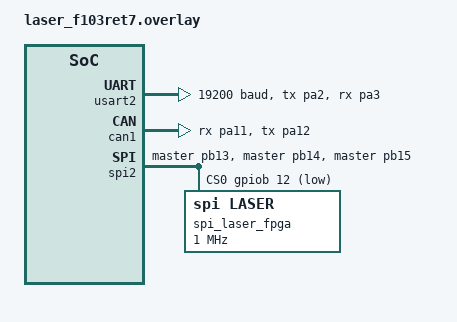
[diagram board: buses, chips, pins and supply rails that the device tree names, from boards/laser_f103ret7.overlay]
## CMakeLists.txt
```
# SPDX-License-Identifier: Apache-2.0

cmake_minimum_required(VERSION 3.20.0)

find_package(Zephyr REQUIRED HINTS $ENV{ZEPHYR_BASE})
project(laser_ctrl)

target_include_directories(app PRIVATE include)
target_sources(app PRIVATE
  src/main.c
  src/laser_serial.c
  src/flash.c
  src/can.c
  src/firmware.c
)

dt_nodelabel(dts_partition_path NODELABEL "spi_laser_fpga")
if (DEFINED dts_partition_path)
  target_sources(app PRIVATE src/fpga_spi.c)
endif()
```

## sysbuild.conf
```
SB_CONFIG_BOOTLOADER_MCUBOOT=y
SB_CONFIG_MCUBOOT_MODE_SWAP_SCRATCH=y
SB_CONFIG_BOOT_SIGNATURE_KEY_FILE="${APP_DIR}/boards/${BOARD}.pem"
```

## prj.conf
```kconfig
CONFIG_EVENTS=y

# shell
CONFIG_SHELL=y
CONFIG_FLASH_MAP_SHELL=y
CONFIG_FLASH_SHELL=y

# log
CONFIG_LOG=y

# can
CONFIG_CAN=y
CONFIG_CAN_SHELL=y

# img
CONFIG_IMG_MANAGER=y
CONFIG_STREAM_FLASH=y

# reboot
CONFIG_REBOOT=y
```

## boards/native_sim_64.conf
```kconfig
CONFIG_FLASH=y
CONFIG_FLASH_MAP=y
CONFIG_STREAM_FLASH=y
CONFIG_NVS=y
CONFIG_SETTINGS=y
CONFIG_SETTINGS_NVS=y
CONFIG_MAIN_STACK_SIZE=2048
```

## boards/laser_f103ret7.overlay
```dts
/{
	chosen {
		zephyr,canbus = &can1;
	};
	aliases {
		laser-serial = &usart2;
	};
};

&usart2 {
	pinctrl-0 = <&usart2_tx_pa2 &usart2_rx_pa3>;
	pinctrl-names = "default";
	current-speed = <19200>;
	status = "okay";
};

&can1 {
	pinctrl-0 = <&can_rx_pa11 &can_tx_pa12>;
	pinctrl-names = "default";
	status = "okay";
};

&spi2 {
	pinctrl-0 = <&spi2_sck_master_pb13 &spi2_miso_master_pb14 &spi2_mosi_master_pb15>;
	pinctrl-names = "default";
	cs-gpios = <&gpiob 12 GPIO_ACTIVE_LOW>;
	status = "okay";
	spi_laser_fpga: spi_laser_fpga@0 {
		compatible = "spi,laser";
		spi-max-frequency = <DT_FREQ_M(1)>;
		reg = <0>;
	};
};
```

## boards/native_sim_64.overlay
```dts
/{
	chosen {
		zephyr,canbus = &can0;
		zephyr,settings-partition = &storage_partition;
	};
	aliases {
		laser-serial = &uart1;
	};
};

&uart1 {
	status = "okay";
};

&can0 {
	status = "okay";
	can-transceiver {
		min-bitrate = <15000>;
		max-bitrate = <1000000>;
	};
	host-interface = "vcan0";
};
```

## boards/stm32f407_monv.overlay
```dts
/{
	chosen {
		zephyr,canbus = &can1;
	};
	aliases {
		laser-serial = &usart3;
	};
};

&usart3 {
	pinctrl-0 = <&usart3_tx_pb10 &usart3_rx_pb11>;
	pinctrl-names = "default";
	current-speed = <19200>;
	status = "okay";
};

&can1 {
	pinctrl-0 = <&can1_rx_pb8 &can1_tx_pb9>;
	pinctrl-names = "default";
	status = "okay";
};
```

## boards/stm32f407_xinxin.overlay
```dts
/{
	chosen {
		zephyr,canbus = &can1;
	};
	aliases {
		laser-serial = &usart2;
	};
};

&usart2 {
	pinctrl-0 = <&usart2_tx_pa2 &usart2_rx_pa3>;
	pinctrl-names = "default";
	current-speed = <19200>;
	status = "okay";
};

&can1 {
	pinctrl-0 = <&can1_rx_pb8 &can1_tx_pb9>;
	pinctrl-names = "default";
	status = "okay";
};
```

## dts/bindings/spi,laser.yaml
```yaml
#
# Copyright (c) 2025 kabirz
#
# SPDX-License-Identifier: Apache-2.0
#

description: This is a representation of the spi laser.

compatible: "spi,laser"

include: [spi-device.yaml]
```

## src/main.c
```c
/*
 * Copyright (c) 2012-2014 Wind River Systems, Inc.
 *
 * SPDX-License-Identifier: Apache-2.0
 */

#include <zephyr/kernel.h>
#include <zephyr/app_version.h>
#ifndef CONFIG_FLASH_SIZE
#define CONFIG_FLASH_SIZE 0x1000
#endif

int main(void)
{
	printk("build time: %s-%s, board: %s, system clk: %dMHz, flash size: %dKB, version: %s\n",
	 __DATE__, __TIME__, CONFIG_BOARD_TARGET, CONFIG_SYS_CLOCK_HW_CYCLES_PER_SEC / 1000000,
	 CONFIG_FLASH_SIZE, APP_VERSION_STRING);

	return 0;
}
```

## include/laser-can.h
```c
#ifndef __LASER_CAN_H__
#define __LASER_CAN_H__
#include "laser-common.h"

enum {
	COB_ID1_RX = 0x664,
	COB_ID1_TX = 0x5E4,
	COB_ID2_RX = 0x665,
	COB_ID2_TX = 0x5E5,

	PLATFORM_RX   = 0x101,
	PLATFORM_TX   = 0x102,
	FW_DATA_RX    = 0x103,
};

#define CANRECSDOREADXAXISREALVAL  0x40466200
#define CANRECSDOREADYAXISREALVAL  0x40486200
#define CANRECSDOREADYAXIS         0x40026200
#define CANRECSDOWRITEYAXIS        0x22026200
#define CANRECSDOREADXAXIS         0x40016200
#define CANRECSDOWRITEXAXIS        0x22016200
#define CANRECSDOREADCONWORD       0x40406200
#define CANRECSDOWRITECONWORD      0x22406200
#define CANRECSDOWRITECONWORD_NEW  0x23406200
#define CANCMD_LASER_CTRL          0x22416200
#define CANCMD_LASER_CTRL_NEW      0x23416200
#define CANCMD_LASER_PEROID_CONF   0x22426200
#define CANCMD_LASER_PEROID_CONFN  0x23426200
#define CANCMD_LASER_PEROID_GET    0x40426200
#define CANWRITESYSTEMSTATUS       0x22000000
#define CANWRITESYSTEMSTATUS_NEW   0x23000000
#define CANREADSYSTEMSTATUS        0x40000000

#define CANCMD_LASER_CTRL_ENABLE   0x00000001
#define CANCMD_LASER_CTRL_DISABLE  0x00000000

#define CAN_HOST_MASK              0x00FFFFFF
#define CAN_HOST_ACK_ID            0x60000000
#define CAN_HOST_NOACK_ID          0x80000000

#define SYSTEMSTATUSINIT           0x00    // init status
#define SYSTEMSTATUSWORKING        0x01    // working status
#define SYSTEMSTATUSWORKREADERR    0x02    // init eeprom error
#define SYSTEMSTATUSINITERR        0x03    // init parameters error
#define SYSTEMSTATUSEEPROM         0x10    // eeprom writing status
#define SYSTEMSTATUSWRIERR         0x12    // writing eeprom error
#define SYSTEMSTATUSREADERR        0x11    // reading eeprom error

int cob_msg_send(uint32_t data1, uint32_t data2, uint32_t id);
int laser_can_send(struct can_frame *frame);

#include <zephyr/dfu/flash_img.h>
#include <zephyr/dfu/mcuboot.h>
#include <zephyr/storage/flash_map.h>

struct image_fw_msg {
	uint32_t total_size;
	uint32_t offset;
	struct flash_img_context flash_img_ctx;
};
int fw_update(struct can_frame *frame);

#endif
```

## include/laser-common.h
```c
#ifndef __LASER_COMMON_H__
#define __LASER_COMMON_H__
#include <zephyr/kernel.h>
#include <zephyr/drivers/can.h>

enum fw_error_code {
	FW_CODE_OFFSET,
	FW_CODE_UPDATE_SUCCESS,
	FW_CODE_VERSION,
	FW_CODE_CONFIRM,
	FW_CODE_FLASH_ERROR,
	FW_CODE_TRANFER_ERROR,
	FW_CODE_FPGA_VERSION,
};

enum board_option {
	BOARD_START_UPDATE,
	BOARD_CONFIRM,
	BOARD_VERSION,
	BOARD_REBOOT,
	FPGA_VERSION,
};

enum {
	LASER_DEVICE_STATUS,
	LASER_WRITE_MODE,
	LASER_NEED_CLOSE,
	LASER_ON,
	LASER_CON_MESURE,
	LASER_FW_UPDATE,
};
extern atomic_t laser_status;
extern uint64_t latest_fw_up_times;

struct laser_encode_data {
	int64_t encode1: 20;
	int64_t encode2: 20;
	uint64_t laser_val: 24;
};

int laser_get_encode_data(struct laser_encode_data *val);


#endif
```

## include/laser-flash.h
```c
#ifndef __LASER__FLASH_H__
#define __LASER__FLASH_H__

#include "laser-common.h"

int laser_flash_write(uint16_t address, uint32_t val);
int laser_flash_read(uint16_t address, uint32_t *val);
int laser_flash_read_mode(void);
int laser_flash_write_mode(void);

#endif
```

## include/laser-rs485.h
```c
#ifndef __LASER_RS485_H__
#define __LASER_RS485_H__

#include "laser-common.h"
int laser_stopclear(void);
int laser_on(void);
int laser_con_measure(uint32_t val);

#endif
```

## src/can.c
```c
#include <zephyr/kernel.h>
#include <laser-can.h>
#include <laser-rs485.h>
#include <laser-flash.h>
#include <zephyr/sys/byteorder.h>
#include <zephyr/logging/log.h>
LOG_MODULE_REGISTER(laser_can, LOG_LEVEL_INF);

static const struct device *can_dev = DEVICE_DT_GET(DT_CHOSEN(zephyr_canbus));
CAN_MSGQ_DEFINE(laser_can_msgq, 8);
#define USER_NODE DT_PATH(zephyr_user)
#if DT_NODE_HAS_PROP(USER_NODE, rs485_tx_gpios)
static struct k_work_delayable laser_delayed_work;
#endif
uint64_t latest_fw_up_times;
static uint32_t SystemStatus = SYSTEMSTATUSWORKING;
int16_t gcXaxisInitValue, gcYaxisInitValue;
atomic_t laser_status = ATOMIC_INIT(0);

int cob_msg_send(uint32_t data1, uint32_t data2, uint32_t id)
{
	struct can_frame frame = {
		.data_32 = {
			sys_cpu_to_be32(data1),
			sys_cpu_to_be32(data2),
		},
		.id = id,
		.dlc = can_bytes_to_dlc(8),
	};


	return laser_can_send(&frame);
}

static void laser_canrx_msg_handler(struct can_frame *frame)
{
	uint32_t ack_cmd;
	static uint32_t LaserPeriod = 100;

	switch (frame->id) {
	case COB_ID1_RX : {
		switch (sys_be32_to_cpu(frame->data_32[0])) {
		case CANRECSDOREADCONWORD:
			cob_msg_send(0x43406200, atomic_test_bit(&laser_status, LASER_DEVICE_STATUS), COB_ID1_TX);
			break;
		case CANRECSDOWRITECONWORD:
		case CANRECSDOWRITECONWORD_NEW:
			if (sys_be32_to_cpu(frame->data_32[1])) {
				LOG_DBG("device running");
				atomic_set_bit(&laser_status, LASER_DEVICE_STATUS);
			} else {
				LOG_DBG("device not running");
				atomic_clear_bit(&laser_status, LASER_DEVICE_STATUS);
			}
			cob_msg_send(0x60406200, sys_be32_to_cpu(frame->data_32[1]), COB_ID1_TX);
			break;
		case CANRECSDOREADYAXISREALVAL:
		case CANRECSDOREADXAXISREALVAL: {
			if (sys_be32_to_cpu(frame->data_32[0]) == CANRECSDOREADXAXISREALVAL)
				cob_msg_send(0x43466200, 0x1234, COB_ID1_TX);
			else
				cob_msg_send(0x43486200, 0x1234, COB_ID1_TX);
			}
			break;
		case CANRECSDOREADXAXIS:
			cob_msg_send(0x43016200, gcXaxisInitValue, COB_ID1_TX);
			break;
		case CANRECSDOREADYAXIS:
			cob_msg_send(0x43026200, gcYaxisInitValue, COB_ID1_TX);
			break;
		case CANRECSDOWRITEXAXIS:
			gcXaxisInitValue = sys_be32_to_cpu(frame->data_32[1]) & 0xFFFF;
			cob_msg_send(0x60016200, gcXaxisInitValue, COB_ID1_TX);
			break;
		case CANRECSDOWRITEYAXIS:
			gcYaxisInitValue = sys_be32_to_cpu(frame->data_32[1]) & 0xFFFF;
			cob_msg_send(0x60026200, gcYaxisInitValue, COB_ID1_TX);
			break;
		case CANREADSYSTEMSTATUS:
			SystemStatus = SYSTEMSTATUSWORKING;
			LOG_DBG("mem read mode");
			laser_flash_read_mode();
			cob_msg_send(SystemStatus, CANREADSYSTEMSTATUS, COB_ID1_TX);
			break;
		case CANWRITESYSTEMSTATUS:
		case CANWRITESYSTEMSTATUS_NEW:
			SystemStatus = SYSTEMSTATUSEEPROM;
			LOG_DBG("mem write mode");
			laser_flash_write_mode();
			cob_msg_send(SystemStatus, CANWRITESYSTEMSTATUS, COB_ID1_TX);
			break;
		case CANCMD_LASER_CTRL:
		case CANCMD_LASER_CTRL_NEW:
			ack_cmd = (CANCMD_LASER_CTRL & CAN_HOST_MASK)|CAN_HOST_NOACK_ID;
			if (sys_be32_to_cpu(frame->data_32[1]) == CANCMD_LASER_CTRL_ENABLE) {
				LOG_DBG("laser on and measure");
				if (laser_on() == 0) {
					if (laser_con_measure(LaserPeriod) == 0)
						ack_cmd = (CANCMD_LASER_CTRL & CAN_HOST_MASK)|CAN_HOST_ACK_ID;
				}
			} else if (sys_be32_to_cpu(frame->data_32[1]) == CANCMD_LASER_CTRL_DISABLE) {
#if DT_NODE_HAS_PROP(USER_NODE, rs485_tx_gpios)
				if (atomic_test_bit(&laser_status, LASER_ON) &&
					atomic_test_bit(&laser_status, LASER_CON_MESURE)) {
					atomic_set_bit(&laser_status, LASER_NEED_CLOSE);
					k_work_schedule(&laser_delayed_work, K_SECONDS(2));
				} else
#endif
				{
					if (laser_stopclear() == 0)
						ack_cmd = (CANCMD_LASER_CTRL & CAN_HOST_MASK)|CAN_HOST_ACK_ID;
				}
				LOG_DBG("laser stop");
			}
			cob_msg_send(ack_cmd, sys_be32_to_cpu(frame->data_32[1]), COB_ID1_TX);
			break;
		case CANCMD_LASER_PEROID_CONF:
		case CANCMD_LASER_PEROID_CONFN:
			ack_cmd = (CANCMD_LASER_PEROID_CONF & CAN_HOST_MASK)|CAN_HOST_ACK_ID;
			LaserPeriod = sys_be32_to_cpu(frame->data_32[1]);
			LOG_DBG("set period: %d", LaserPeriod);
			cob_msg_send(ack_cmd, sys_be32_to_cpu(frame->data_32[1]), COB_ID1_TX);
			break;
		case CANCMD_LASER_PEROID_GET:
			LOG_DBG("get period: %d", LaserPeriod);
			ack_cmd = (CANCMD_LASER_PEROID_GET & CAN_HOST_MASK)|CAN_HOST_ACK_ID;
			cob_msg_send(ack_cmd, LaserPeriod, COB_ID1_TX);
			break;
		default:
			LOG_ERR("Unknown command: 0x%x", sys_be32_to_cpu(frame->data_32[0]));
			break;
		}
	} break;
	case COB_ID2_RX : {
		if (frame->data[0] == 0x22) {
			uint32_t address = frame->data[1] + frame->data[2] * 10;
			uint32_t val = sys_be32_to_cpu(frame->data_32[1]);
			if (address == 0) address = 1;
			int ret = laser_flash_write(address-1, val);

			LOG_DBG("address: %d, val: 0x%x", address, val);
			if (ret) {
				cob_msg_send(0x12, val, COB_ID2_TX);
			} else {
				cob_msg_send(1, val, COB_ID2_TX);
			}
		} else if (frame->data[0] == 0x40) {
			uint32_t address = frame->data[1] + frame->data[2] * 10;
			uint32_t val;

			if (address == 0) address = 1;

			int ret = laser_flash_read(address - 1, &val);

			LOG_DBG("address: %d, val: 0x%x", address, val);
			if (ret) {
				cob_msg_send(0x11, val, COB_ID2_TX);
			} else {
				cob_msg_send(1, val, COB_ID2_TX);
			}
		}
	}
		break;
	case PLATFORM_RX:
	case FW_DATA_RX:
		latest_fw_up_times = k_uptime_get();
		fw_update(frame);
		break;
	default:
		LOG_ERR("can frame id (0x%x) is not supported", frame->id);
	}
}

static void laser_cantx_callback(const struct device *dev, int error, void *user_data)
{
	uint32_t count = (uint32_t)(uintptr_t)user_data;
	if (error == 0) {
		if (!atomic_test_bit(&laser_status, LASER_FW_UPDATE)) {
			LOG_DBG("CAN frame #%u successfully sent", count);
		}
	} else {
		LOG_ERR("failed to send CAN frame #%u (err %d)", count, error);
	}
}

#if DT_NODE_HAS_PROP(USER_NODE, rs485_tx_gpios)
static void laser_stop_work_handler(struct k_work *work)
{
	if (atomic_test_and_clear_bit(&laser_status, LASER_NEED_CLOSE)) {
		laser_stopclear();
	}
}
#endif

static atomic_t laser_can_tx_seq;

int laser_can_send(struct can_frame *frame)
{
	uint32_t seq = atomic_inc(&laser_can_tx_seq) + 1;

	return can_send(can_dev, frame, K_MSEC(100), laser_cantx_callback, (void *)(uintptr_t)seq);
}

bool check_can_device_ready(void)
{
	return DEVICE_API_IS(can, can_dev) && device_is_ready(can_dev);
}

int laser_can_init(void)
{
	int err = -1;
	uint8_t can_check_time = 0;

	while (can_check_time++ < 10) {
		if (check_can_device_ready()) break;
	}
	if (can_check_time >= 10) {
		LOG_ERR("can device is not ready");
		goto end;
	}

	if ((err = can_set_bitrate(can_dev, 250000)) != 0) {
		LOG_ERR("failed to set bitrate (err %d)", err);
		goto end;
	}

	if ((err = can_start(can_dev)) != 0) {
		LOG_ERR("failed to start CAN controller (err %d)", err);
		goto end;
	}

	laser_flash_read_mode();

	struct can_filter filter = {
		.mask = CAN_STD_ID_MASK
	};

	filter.id = COB_ID1_RX;
	can_add_rx_filter_msgq(can_dev, &laser_can_msgq, &filter);

	filter.id = COB_ID2_RX;
	can_add_rx_filter_msgq(can_dev, &laser_can_msgq, &filter);

	filter.id = PLATFORM_RX;
	can_add_rx_filter_msgq(can_dev, &laser_can_msgq, &filter);

	filter.id = FW_DATA_RX;
	can_add_rx_filter_msgq(can_dev, &laser_can_msgq, &filter);
end:
	return err;
}

void laser_can_process_thread(void)
{
	struct can_frame frame;

	if (laser_can_init() != 0) {
		LOG_ERR("can init failed");
		return;
	}

#if DT_NODE_HAS_PROP(USER_NODE, rs485_tx_gpios)
	k_work_init_delayable(&laser_delayed_work, laser_stop_work_handler);
	k_work_schedule(&laser_delayed_work, K_SECONDS(2));
#endif

	while (true) {
		if (k_msgq_get(&laser_can_msgq, &frame, K_FOREVER) == 0)
			laser_canrx_msg_handler(&frame);
	}
}

K_THREAD_DEFINE(laser_can, 2048, laser_can_process_thread, NULL, NULL, NULL, 11, 0, 0);
```

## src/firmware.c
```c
#include <laser-can.h>
#include <zephyr/sys/byteorder.h>
#include <zephyr/app_version.h>
#include <zephyr/sys/reboot.h>
#include <zephyr/logging/log.h>
#include <zephyr/devicetree.h>
LOG_MODULE_REGISTER(firmware_up, LOG_LEVEL_INF);

#if DT_NODE_EXISTS(DT_NODELABEL(spi_laser_fpga))
extern uint32_t fpga_uint32_version(void);
#else
static inline uint32_t fpga_uint32_version(void)
{
	LOG_WRN("fpga not present on this board");
	return 0;
}
#endif

static void fw_can_recevie(uint32_t code, uint32_t offset)
{
	struct can_frame frame = {
		.id = PLATFORM_TX,
		.data_32 = {code, offset},
		.dlc = can_bytes_to_dlc(8),
	};

	laser_can_send(&frame);
}

int fw_update(struct can_frame *frame)
{
	static struct image_fw_msg msg;
	uint32_t size = can_dlc_to_bytes(frame->dlc);

	if (frame->id == PLATFORM_RX) {
		if (frame->data_32[0] == BOARD_START_UPDATE) {
			atomic_set_bit(&laser_status, LASER_FW_UPDATE);
			if (size != 8) {
				LOG_ERR("start update message size must 8");
				fw_can_recevie(FW_CODE_FLASH_ERROR, 0);
				atomic_clear_bit(&laser_status, LASER_FW_UPDATE);
				return -1;

			}
			memset(&msg, 0, sizeof(msg));
			if (flash_img_init(&msg.flash_img_ctx) != 0) {
				LOG_ERR("flash init failed");
				fw_can_recevie(FW_CODE_FLASH_ERROR, 0);
				atomic_clear_bit(&laser_status, LASER_FW_UPDATE);
				return -1;
			}
			if (flash_area_flatten(msg.flash_img_ctx.flash_area, 0, msg.flash_img_ctx.flash_area->fa_size) != 0) {
				LOG_ERR("flash erase failed");
				fw_can_recevie(FW_CODE_FLASH_ERROR, 0);
				atomic_clear_bit(&laser_status, LASER_FW_UPDATE);
				return -1;
			}
			msg.offset = 0;
			msg.total_size = frame->data_32[1];
			fw_can_recevie(FW_CODE_OFFSET, 0);
			LOG_INF("Start upgrade firmware, size:%d", msg.total_size);
		} else if (frame->data_32[0] == BOARD_CONFIRM) {
			flash_img_buffered_write(&msg.flash_img_ctx, frame->data, 0, true);
			if (msg.total_size != flash_img_bytes_written(&msg.flash_img_ctx)) {
				LOG_ERR("Download failed total: %d, %d", msg.total_size, flash_img_bytes_written(&msg.flash_img_ctx));
				fw_can_recevie(FW_CODE_TRANFER_ERROR, msg.offset);
				return -1;
			} else {
				LOG_INF("Download Finished, need reboot and finish system upgrade.");
			}
			boot_request_upgrade(frame->data_32[1]);
			fw_can_recevie(FW_CODE_CONFIRM, 0x55AA55AA);
		} else if (frame->data_32[0] == BOARD_VERSION) {
			fw_can_recevie(FW_CODE_VERSION, APPVERSION);
		} else if (frame->data_32[0] == FPGA_VERSION) {
			fw_can_recevie(FW_CODE_FPGA_VERSION, fpga_uint32_version());
		} else if (frame->data_32[0] == BOARD_REBOOT) {
			sys_reboot(SYS_REBOOT_WARM);
		}
	} else if (frame->id == FW_DATA_RX) {
		if (flash_img_buffered_write(&msg.flash_img_ctx, frame->data, size, false)) {
			fw_can_recevie(FW_CODE_FLASH_ERROR, 0);
			atomic_clear_bit(&laser_status, LASER_FW_UPDATE);
			return -1;
		}
		msg.offset += size;
		if (msg.offset == msg.total_size) {
			LOG_INF("recived firmware: %d/%d", msg.offset, msg.total_size);
			fw_can_recevie(FW_CODE_UPDATE_SUCCESS, msg.total_size);
			atomic_clear_bit(&laser_status, LASER_FW_UPDATE);
		} else {
			if (msg.offset % 4096 == 0)
				LOG_INF("recived firmware: %d/%d", msg.offset, msg.total_size);
			if (msg.offset % 64 == 0)
				fw_can_recevie(FW_CODE_OFFSET, msg.offset);
		}
	}
	return 0;
}
```

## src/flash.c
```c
#include "laser-common.h"
#include <zephyr/kernel.h>
#include <zephyr/storage/flash_map.h>
#include <zephyr/logging/log.h>
LOG_MODULE_REGISTER(laser_flash, LOG_LEVEL_INF);

#ifdef CONFIG_BOARD_NATIVE_SIM
#define CFG_PARTITION    storage_partition
#else
#define CFG_PARTITION    cfg_partition
#endif
#define CFG_PARTITION_ID PARTITION_ID(CFG_PARTITION)

static const struct flash_area *fa;
static uint32_t laser_regs[50];
bool inited;

static int laser_flash_init(void)
{
	if (flash_area_open(CFG_PARTITION_ID, &fa) != 0) {
		LOG_ERR("flash open failed");
		inited = false;
		return -1;
	}

	if (flash_area_read(fa, 0, laser_regs, sizeof(laser_regs)) != 0) {
		flash_area_close(fa);
		LOG_ERR("flash read failed");
		fa = NULL;
		return -1;
	}
	inited = true;
	return 0;
}

int laser_flash_read_mode(void)
{
	if (!inited) {
		if (laser_flash_init()) return -1;
	}
	atomic_clear_bit(&laser_status, LASER_WRITE_MODE);
	return 0;
}

int laser_flash_write_mode(void)
{
	if (!inited) {
		if (laser_flash_init()) return -1;
	}

	atomic_set_bit(&laser_status, LASER_WRITE_MODE);
	return 0;
}

int laser_flash_write(uint16_t address, uint32_t val)
{
	if (!atomic_test_bit(&laser_status, LASER_WRITE_MODE) ||
		atomic_test_bit(&laser_status, LASER_FW_UPDATE)) {
		LOG_ERR("Please enable write mode first");
		return -1;
	}
	if (address >= 50) {
		LOG_ERR("only support 50 regs");
		return -1;
	}
	if (laser_regs[address] != val) {
		laser_regs[address] = val;
		if (flash_area_flatten(fa, 0, 4096) == 0) {
			if (flash_area_write(fa, 0, laser_regs, sizeof(laser_regs)) == 0) {
				return 0;
			}
		}
	} else return 0;
	LOG_ERR("flash write failed");

	return -1;
}

int laser_flash_read(uint16_t address, uint32_t *val)
{
	if (!inited) {
		LOG_ERR("%s: flash error", __FUNCTION__);
		return -1;
	}
	if (address >= 50) {
		LOG_ERR("only support 50 regs");
		return -1;
	}
	*val = laser_regs[address];
	return 0;
}

#ifdef CONFIG_SHELL
#include <zephyr/shell/shell.h>
#include <stdlib.h>
static int cmd_lflash_mode(const struct shell *ctx, size_t argc, char **argv)
{
	if (argv[1][0] == '0' && argv[1][1] == '\0') {
		laser_flash_read_mode();
	} else if (argv[1][0] == '1' && argv[1][1] == '\0') {
		laser_flash_write_mode();
	} else {
		shell_print(ctx, "Usage: lfash mode 0 or lfash mode 1");
		return -1;
	}
	return 0;
}

static int cmd_lflash_write(const struct shell *ctx, size_t argc, char **argv)
{
	uint32_t l_buf;
	uint8_t regs = strtol(argv[1], NULL, 0);

	for (int i = 0; i < argc - 2; i++) {
		l_buf = strtol(argv[2 + i], NULL, 0);
		laser_flash_write(regs+i, l_buf);
	}

	return 0;
}

static int cmd_lflash_read(const struct shell *ctx, size_t argc, char **argv)
{
	uint8_t regs = strtol(argv[1], NULL, 0);
	uint32_t val;

	for (int i = 0; i < strtol(argv[2], NULL, 0); i++) {
		laser_flash_read(regs+i, &val);
		shell_print(ctx, "%d: 0x%x", regs+i, val);
	}
	return 0;
}

SHELL_STATIC_SUBCMD_SET_CREATE(sub_lflash_cmds,
			       SHELL_CMD_ARG(mode, NULL,
					     "set flash mode\n"
					     "Usage: mode <0/1> , 0: read mode, 1: write mode",
					     cmd_lflash_mode, 2, 0),
			       SHELL_CMD_ARG(write, NULL,
					     "write bytes to flash\n"
					     "Usage: write <reg> <word1> [<word2>..], reg < 256",
					     cmd_lflash_write, 3, 7),
			       SHELL_CMD_ARG(read, NULL,
					     "read bytes from flash\n"
					     "Usage: read <reg> <numbers>",
					     cmd_lflash_read, 3, 0),
			       SHELL_SUBCMD_SET_END);

SHELL_CMD_REGISTER(lflash, &sub_lflash_cmds, "Spi Flash commands", NULL);
#endif
```

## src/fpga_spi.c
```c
#include <stdlib.h>
#include <string.h>
#include <zephyr/kernel.h>
#include <zephyr/drivers/spi.h>
#include <zephyr/sys/util.h>
#include <laser-common.h>
#include <zephyr/logging/log.h>
LOG_MODULE_REGISTER(laser_spi, LOG_LEVEL_INF);

enum {
	VERSION_GET_REG = 0,
	TIMESTAMP_REG,
	ENCODE1_GET_REG,
	ENCODE2_GET_REG,
	FPGA_RESET = 0xA5,
};

static const struct spi_dt_spec spi_spec =
	SPI_DT_SPEC_GET(DT_NODELABEL(spi_laser_fpga), SPI_WORD_SET(8));

struct encode_msg {
	uint8_t reg;
  	uint64_t timecount:31;
  	uint64_t single_num:17;
  	int64_t mutli_num:16;
} __PACKED;

static int spi_tranfer(void *tx_buffer, void *rx_buffer, size_t size)
{
	const struct spi_buf tx_buffers = {.buf = tx_buffer, .len = size};
	const struct spi_buf rx_buffers = {.buf = rx_buffer, .len = size};

	const struct spi_buf_set tx_buf_set = {.buffers = &tx_buffers, .count = 1};
	const struct spi_buf_set rx_buf_set = {.buffers = &rx_buffers, .count = 1};

	return spi_transceive_dt(&spi_spec, &tx_buf_set, &rx_buf_set);
}

uint32_t fpga_uint32_version(void)
{
	uint8_t rx_buf[5] = {0}, tx_buf[5] = {0};

	tx_buf[0] = VERSION_GET_REG;
	if (spi_tranfer(tx_buf, rx_buf, sizeof(rx_buf))) {
		LOG_ERR("spi tranfer error");
		return -1;
	}

	uint32_t version;
	memcpy(&version, &rx_buf[1], sizeof(version));
	return version;
}

uint32_t fpga_uint32_set(uint8_t reg, uint32_t val)
{
	uint8_t rx_buf[5] = {0}, tx_buf[5] = {0};

	tx_buf[0] = reg;
	memcpy(&tx_buf[1], &val, sizeof(val));

	if (spi_tranfer(tx_buf, rx_buf, sizeof(rx_buf))) {
		LOG_ERR("spi tranfer error");
		return -1;
	}

	return 0;
}

static int encode_data_get(uint8_t reg, struct encode_msg *rx)
{
	struct encode_msg tx_buf;

	tx_buf.reg = reg;
	if (spi_tranfer(&tx_buf, rx, sizeof(tx_buf))) {
		LOG_ERR("spi tranfer error");
		return -1;
	}
	return 0;
}

int laser_get_encode_data(struct laser_encode_data *encode)
{
	static uint64_t local_previous_time = 0;
	static uint32_t fpga_previous_time1 = 0;
	static uint32_t fpga_previous_time2 = 0;
	uint32_t diff_l, diff_f;
	struct encode_msg msg1, msg2;
	int postion;
	uint64_t timestamp = k_uptime_get();

	/* get encode data */
	encode_data_get(ENCODE1_GET_REG, &msg1);
	encode_data_get(ENCODE2_GET_REG, &msg2);

	/* local time delta since last call */
	if (local_previous_time == 0) {
		diff_l = 0;
	} else if (timestamp < local_previous_time) {
		diff_l = timestamp + (UINT64_MAX - local_previous_time) + 1;
	} else {
		diff_l = timestamp - local_previous_time;
	}

	/* encode1: compare against msg1's own timestamp */
	if (fpga_previous_time1 == 0) {
		diff_f = 0;
	} else if (msg1.timecount < fpga_previous_time1) {
		diff_f = msg1.timecount + (BIT(31) - fpga_previous_time1);
	} else {
		diff_f = msg1.timecount - fpga_previous_time1;
	}

	postion = msg1.mutli_num * BIT(17) + msg1.single_num;

	if (diff_l > diff_f && (diff_l - diff_f) > 1000)
		encode->encode1 = 0;
	else {
		encode->encode1 = postion;
	}

	/* encode2: compare against msg2's own timestamp */
	if (fpga_previous_time2 == 0) {
		diff_f = 0;
	} else if (msg2.timecount < fpga_previous_time2) {
		diff_f = msg2.timecount + (BIT(31) - fpga_previous_time2);
	} else {
		diff_f = msg2.timecount - fpga_previous_time2;
	}

	postion = msg2.mutli_num * BIT(17) + msg2.single_num;

	if (diff_l > diff_f && (diff_l - diff_f) > 1000)
		encode->encode2 = 0;
	else
		encode->encode2 = postion;

	fpga_previous_time1 = msg1.timecount;
	fpga_previous_time2 = msg2.timecount;
	local_previous_time = timestamp;

	return 0;
}

static int fpga_spi_init(void)
{
	LOG_INF("fpga version: 0x%x", fpga_uint32_version());

	return 0;
}

SYS_INIT(fpga_spi_init, APPLICATION, 10);

#ifdef CONFIG_SHELL
#include <zephyr/shell/shell.h>
#include <stdlib.h>
static int shell_version_get(const struct shell *ctx, size_t argc, char **argv)
{
	shell_print(ctx, "fpga version: 0x%x", fpga_uint32_version());

	return 0;
}

static int shell_encode_get(const struct shell *ctx, size_t argc, char **argv)
{
	struct encode_msg rx_msg;
	uint8_t reg;

	switch (strtol(argv[1], NULL, 0)) {
	case 1:
		reg = ENCODE1_GET_REG;
		break;
	case 2:
		reg = ENCODE2_GET_REG;
		break;
	default:
		shell_print(ctx, "Usage: %s <1/2>", argv[0]);
		return -1;
	}
	if (encode_data_get(reg, &rx_msg) == 0) {
		shell_print(ctx, "timestamp: %d ms, single num: %d, mutil num: %d, postion: %ld",
	      rx_msg.timecount, rx_msg.single_num, rx_msg.mutli_num, rx_msg.mutli_num * BIT(17) + rx_msg.single_num);
		shell_print(ctx, "RX:");
	      	shell_hexdump(ctx, (void *)&rx_msg, sizeof(rx_msg));
	}
	return 0;
}

SHELL_STATIC_SUBCMD_SET_CREATE(sub_fpga_cmds,
			       SHELL_CMD_ARG(version, NULL,
					     "get fpga version\n"
					     "Usage: version",
					     shell_version_get, 1, 0),
			       SHELL_CMD_ARG(encode, NULL,
					     "get encode data\n"
					     "Usage: encode <1/2>",
					     shell_encode_get, 2, 0),
			       SHELL_SUBCMD_SET_END);

SHELL_CMD_REGISTER(fpga_encode, &sub_fpga_cmds, "fpga encode commands", NULL);
#endif
```

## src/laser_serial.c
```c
#include "laser-can.h"
#include <zephyr/device.h>
#include <stdlib.h>
#include <zephyr/drivers/uart.h>
#include <zephyr/drivers/gpio.h>
#include <zephyr/sys/byteorder.h>
#include <zephyr/kernel.h>
#include <zephyr/logging/log.h>
#include <stdio.h>
#include <laser-common.h>
LOG_MODULE_REGISTER(laser_serial, LOG_LEVEL_INF);

int laser_stopclear(void);
#define USER_NODE DT_PATH(zephyr_user)
static const struct device *uart_dev = DEVICE_DT_GET(DT_ALIAS(laser_serial));

#if DT_NODE_HAS_PROP(USER_NODE, rs485_tx_gpios)
static const struct gpio_dt_spec rs485tx_gpios = GPIO_DT_SPEC_GET(USER_NODE, rs485_tx_gpios);
#endif
struct rx_buf {
	uint32_t len;
	uint8_t data[128];
};
K_MSGQ_DEFINE(laser_serial_msgq, sizeof(struct rx_buf), 3, 4);
static K_EVENT_DEFINE(laser_event);
#define EVENT_LASER_STOP_ON BIT(0)
#define EVENT_LASER_ERROR   BIT(1)
#define EVENT_LASER_MSG     BIT(2)
#define EVENT_LASER_OTHER   BIT(3)
static uint8_t id;
static bool first_on;
static bool enable_log;
static uint8_t tx_buf[256];
struct error_msg {
	uint16_t code;
	char *code_desc;
} error_msg_list [] = {
	{  0, "No Error"},
	{200, "sensor boot"},
	{203, "error command"},
	{210, "sensors not in tracking mode"},
	{211, "track time too short"},
	{212, "fisrt run stop/clear then run this command"},
	{220, "serail data error"},
};

static char *get_error_desc(uint16_t code)
{
	for (size_t i = 0; i < ARRAY_SIZE(error_msg_list); i++) {
		if (error_msg_list[i].code == code) {
			return error_msg_list[i].code_desc;
		}
	}
	return "Unknown error";
}

static void laser_msg_process_thread(void)
{
	int32_t distance;
	struct rx_buf buf;

	while (true) {
		if (k_msgq_get(&laser_serial_msgq, &buf, K_FOREVER) == 0) {
			int i = -1;
			for (int j = 0; j + 1 < buf.len; j++) {
				if (buf.data[j] == 'g' && buf.data[j + 1] == id) {
					i = j;
					break;
				}
			}
			if (i < 0 || i + 2 >= buf.len) {
				LOG_ERR("Invalid uart frame!");
				continue;
			}
			if (buf.data[i + 2] == 'h') { // Distance
				buf.data[buf.len - 2] = '\0';
				distance = strtol(buf.data + 3 + i, NULL, 10);
				if (enable_log)
					LOG_INF("distance: %d", distance);
				if (first_on) {
					first_on = false;
					k_event_set(&laser_event, EVENT_LASER_MSG);
				}
			} else if (buf.data[i + 2] == '@' && i + 3 < buf.len &&
				   buf.data[i + 3] == 'E') { // Error code
				buf.data[buf.len - 2] = '\0';
				uint16_t err_code = strtol(buf.data + 4 + i, NULL, 10);
				LOG_ERR("laser error code: %s(%d)", get_error_desc(err_code),
					err_code);
				distance = 0;
				if (!atomic_test_bit(&laser_status, LASER_CON_MESURE))
					k_event_set(&laser_event, EVENT_LASER_ERROR);
			} else if (buf.data[i + 2] == '?') { // stop/clear
				if (!atomic_test_bit(&laser_status, LASER_CON_MESURE)) {
					first_on = true;
					LOG_INF("laser on reply");
				} else {
					first_on = false;
					LOG_INF("laser stop/clear reply");
				}
				k_event_set(&laser_event, EVENT_LASER_STOP_ON);
				continue;
			} else {
				k_event_set(&laser_event, EVENT_LASER_OTHER);
				continue;
			};
			if (!atomic_test_bit(&laser_status, LASER_FW_UPDATE)) {
				struct laser_encode_data laser_data;
				struct can_frame frame = {
					.id = 0x2E4,
					.dlc = can_bytes_to_dlc(8),
				};
#if defined(CONFIG_BOARD_LASER_F103RET7)
				laser_get_encode_data(&laser_data);
#else
				laser_data.encode1 = 0x12345;
				laser_data.encode2 = 0x67899;
#endif
				laser_data.laser_val = distance;
				memcpy(frame.data, &laser_data, 8);
				laser_can_send(&frame);
			} else if (k_uptime_get() - latest_fw_up_times > 10000) {
				atomic_clear_bit(&laser_status, LASER_FW_UPDATE);
				LOG_INF("Cancel Firmware upgrade status due to timeout 10s");
			}
		}
	}
}
K_THREAD_DEFINE(laser_msg, 2048, laser_msg_process_thread, NULL, NULL, NULL, 12, 0, 0);

#ifdef CONFIG_UART_INTERRUPT_DRIVEN
static void uart_cb(const struct device *dev, void *user_data)
{
	static struct rx_buf buf;

	while (uart_irq_update(dev) && uart_irq_rx_ready(dev)) {
		buf.len += uart_fifo_read(dev, buf.data + buf.len, sizeof(buf.data) - buf.len);
		if (buf.len >= sizeof(buf.data)) {
			LOG_WRN("too much laser data");
			LOG_HEXDUMP_INF(buf.data, buf.len, "RX:");
			memset(&buf, 0, sizeof(buf));
		} else if (buf.len > 2) {
			if (buf.data[buf.len - 1] == 0x0A && buf.data[buf.len - 2] == 0x0D) {
				if (enable_log) {
					LOG_HEXDUMP_INF(buf.data, buf.len, "RX:");
				}

#if DT_NODE_HAS_PROP(USER_NODE, rs485_tx_gpios)
				if (atomic_test_and_clear_bit(&laser_status, LASER_NEED_CLOSE)) {
					laser_stopclear();
				} else
#endif
				{
					k_msgq_put(&laser_serial_msgq, &buf, K_NO_WAIT);
				}
				memset(&buf, 0, sizeof(buf));
			} else if (buf.data[0] == 0xea) {
				memset(&buf, 0, sizeof(buf));
			}
		}
	}
}
#else
static void laser_uart_process_thread(void)
{
	static struct rx_buf buf = {0};
	int ret;

	while (true) {
		ret = uart_poll_in(uart_dev, buf.data + buf.len);
		if (ret == -1) {
			k_msleep(1);
			continue;
		}
		buf.len += 1;
		if (buf.len >= sizeof(buf.data)) {
			LOG_WRN("too much laser data");
			LOG_HEXDUMP_INF(buf.data, buf.len, "RX:");
			memset(&buf, 0, sizeof(buf));
		} else if (buf.len > 2) {
			if (buf.data[buf.len-1] == 0x0A && buf.data[buf.len-2] == 0x0D) {
				if (enable_log)
					LOG_HEXDUMP_INF(buf.data, buf.len, "RX:");

				k_msgq_put(&laser_serial_msgq, &buf, K_NO_WAIT);
				memset(&buf, 0, sizeof(buf));
			} else if (buf.data[0] == 0xea) {
				memset(&buf, 0, sizeof(buf));
			}
		}
	}
}
K_THREAD_DEFINE(laser_uart_poll, 2048, laser_uart_process_thread, NULL, NULL, NULL, 13, 0, 0);
#endif

static bool serial_send(const uint8_t *data, size_t len, uint32_t event)
{
	int ret = 0;

#if DT_NODE_HAS_PROP(USER_NODE, rs485_tx_gpios)
	gpio_pin_set_dt(&rs485tx_gpios, 1);
#endif

	for (size_t i = 0; i < len; i++) {
		uart_poll_out(uart_dev, data[i]);
	}

#if DT_NODE_HAS_PROP(USER_NODE, rs485_tx_gpios)
	k_busy_wait(1000);
	gpio_pin_set_dt(&rs485tx_gpios, 0);
#endif
	if (enable_log)
		LOG_HEXDUMP_INF(data, len, "TX:");

	ret = k_event_wait(&laser_event, event, true, K_MSEC(1000));
	if ((ret & event) == 0) {
		LOG_ERR("serial without receive ack");
	}
	return (ret & event) == event;
}

int laser_stopclear(void)
{
	int len = snprintf(tx_buf, sizeof(tx_buf), "s%dc\r\n", id);

	if (!serial_send(tx_buf, len, EVENT_LASER_STOP_ON)) return -1;
	atomic_clear_bit(&laser_status, LASER_ON);
	atomic_clear_bit(&laser_status, LASER_CON_MESURE);

	return 0;
}

int laser_on(void)
{
	int len = snprintf(tx_buf, sizeof(tx_buf), "s%do\r\n", id);

	if (!serial_send(tx_buf, len, EVENT_LASER_STOP_ON)) return -1;

	atomic_set_bit(&laser_status, LASER_ON);

	return 0;
}

static bool laser_read_error(void)
{
	int len = snprintf(tx_buf, sizeof(tx_buf), "s%dre\r\n", id);

	return serial_send(tx_buf, len, EVENT_LASER_ERROR);
}

static bool laser_clear_error(void)
{
	int len = snprintf(tx_buf, sizeof(tx_buf), "s%dce\r\n", id);

	return serial_send(tx_buf, len, EVENT_LASER_ERROR);
}

int laser_con_measure(uint32_t val)
{
	if (!laser_read_error()) return -1;
	if (!laser_clear_error()) return -1;

	int len = snprintf(tx_buf, sizeof(tx_buf), "s%dh+%d\r\n", id, val);

	if (!serial_send(tx_buf, len, EVENT_LASER_MSG)) return -1;
	atomic_set_bit(&laser_status, LASER_CON_MESURE);
	atomic_set_bit(&laser_status, LASER_DEVICE_STATUS);
	return 0;
}

static int laser_setup(uint32_t val)
{
	// stop
	if (laser_stopclear()) return -1;
	// on
	if (laser_on()) return -1;

	if (laser_con_measure(val)) return -1;

	return 0;
}

static int laser_serial_init(void)
{
	struct uart_config uart_cfg = {.baudrate = 115200,
				       .parity = UART_CFG_PARITY_EVEN,
				       .stop_bits = UART_CFG_STOP_BITS_1,
				       .data_bits = UART_CFG_DATA_BITS_7,
				       .flow_ctrl = UART_CFG_FLOW_CTRL_NONE};

	int ret;
	if ((ret = uart_configure(uart_dev, &uart_cfg))) {
		if (ret != -ENOSYS && ret != -ENOTSUP) {
			LOG_ERR("uart config error: %d", ret);
			return -1;
		}
	}

#if DT_NODE_HAS_PROP(USER_NODE, rs485_tx_gpios)
	gpio_pin_configure_dt(&rs485tx_gpios, GPIO_OUTPUT_INACTIVE);
	gpio_pin_set_dt(&rs485tx_gpios, 0);
#endif
#ifdef CONFIG_UART_INTERRUPT_DRIVEN
	uart_irq_callback_set(uart_dev, uart_cb);
	uart_irq_rx_enable(uart_dev);
#endif

	return 0;
}

SYS_INIT(laser_serial_init, APPLICATION, 10);

#ifdef CONFIG_SHELL
#include <zephyr/shell/shell.h>

static int cmd_laser_status(const struct shell *ctx, size_t argc, char **argv)
{
	shell_print(ctx, "status: 0x%lx", laser_status);
	return 0;
}

static int cmd_laser_on(const struct shell *ctx, size_t argc, char **argv)
{
	if (laser_on()) {
		shell_error(ctx, "laser on error!");
		return -1;
	};
	return 0;
}

static int cmd_laser_stop(const struct shell *ctx, size_t argc, char **argv)
{
	if (laser_stopclear()) {
		shell_error(ctx, "laser stop error!");
		return -1;
	};
	return 0;
}

static int cmd_enable_log(const struct shell *ctx, size_t argc, char **argv)
{
	if (strcmp(argv[1], "on") == 0) {
		enable_log = true;
		shell_print(ctx, "Enable laser data dump");
	} else if (strcmp(argv[1], "off") == 0) {
		enable_log = false;
		shell_print(ctx, "Disable laser data dump");
	}
	return 0;
}

static int cmd_laser_mesure(const struct shell *ctx, size_t argc, char **argv)
{
	if (laser_con_measure(100)) {
		shell_error(ctx, "laser start measure error!");
		return -1;
	}
	return 0;
}

static int cmd_laser_write(const struct shell *ctx, size_t argc, char **argv)
{
	int len = snprintf(tx_buf, sizeof(tx_buf), "%s\r\n", argv[1]);

	serial_send(tx_buf, len, 0xf);

	return 0;
}

static int cmd_laser_setup(const struct shell *ctx, size_t argc, char **argv)
{
	if (laser_setup(strtoul(argv[1], NULL, 0))) {
		shell_error(ctx, "laser setup error!");
		return -1;
	};
	return 0;
}

static int cmd_laser_id(const struct shell *ctx, size_t argc, char **argv)
{
	if (argc == 1) {
		shell_print(ctx, "laser id: %d", id);
		return 0;
	}
	id = (uint8_t)strtoul(argv[1], NULL, 0);
	shell_print(ctx, "set laser id: %d", id);
	return 0;
}

SHELL_STATIC_SUBCMD_SET_CREATE(sub_serial_cmds,
			       SHELL_CMD_ARG(status, NULL,
					     "laser status\n"
					     "Usage: status",
					     cmd_laser_status, 1, 0),
			       SHELL_CMD_ARG(on, NULL,
					     "laser on\n"
					     "Usage: on",
					     cmd_laser_on, 1, 0),
			       SHELL_CMD_ARG(stop, NULL,
					     "laser stop\n"
					     "Usage: stop",
					     cmd_laser_stop, 1, 0),
			       SHELL_CMD_ARG(log, NULL,
					     "laser log\n"
					     "Usage: log <on/off>",
					     cmd_enable_log, 2, 0),
			       SHELL_CMD_ARG(mesure, NULL,
					     "laser mesure\n"
					     "Usage: mesure",
					     cmd_laser_mesure, 1, 0),
			       SHELL_CMD_ARG(send, NULL,
					     "serial send\n"
					     "Usage: send <strings>",
					     cmd_laser_write, 2, 0),
			       SHELL_CMD_ARG(setup, NULL,
					     "setup\n"
					     "Usage: setup <period>",
					     cmd_laser_setup, 2, 0),
			       SHELL_CMD_ARG(id, NULL,
					     "get/set laser id\n"
					     "Usage: id [<id>]",
					     cmd_laser_id, 1, 1),
			       SHELL_SUBCMD_SET_END);

SHELL_CMD_REGISTER(laser, &sub_serial_cmds, "laser commands", NULL);
#endif
```
